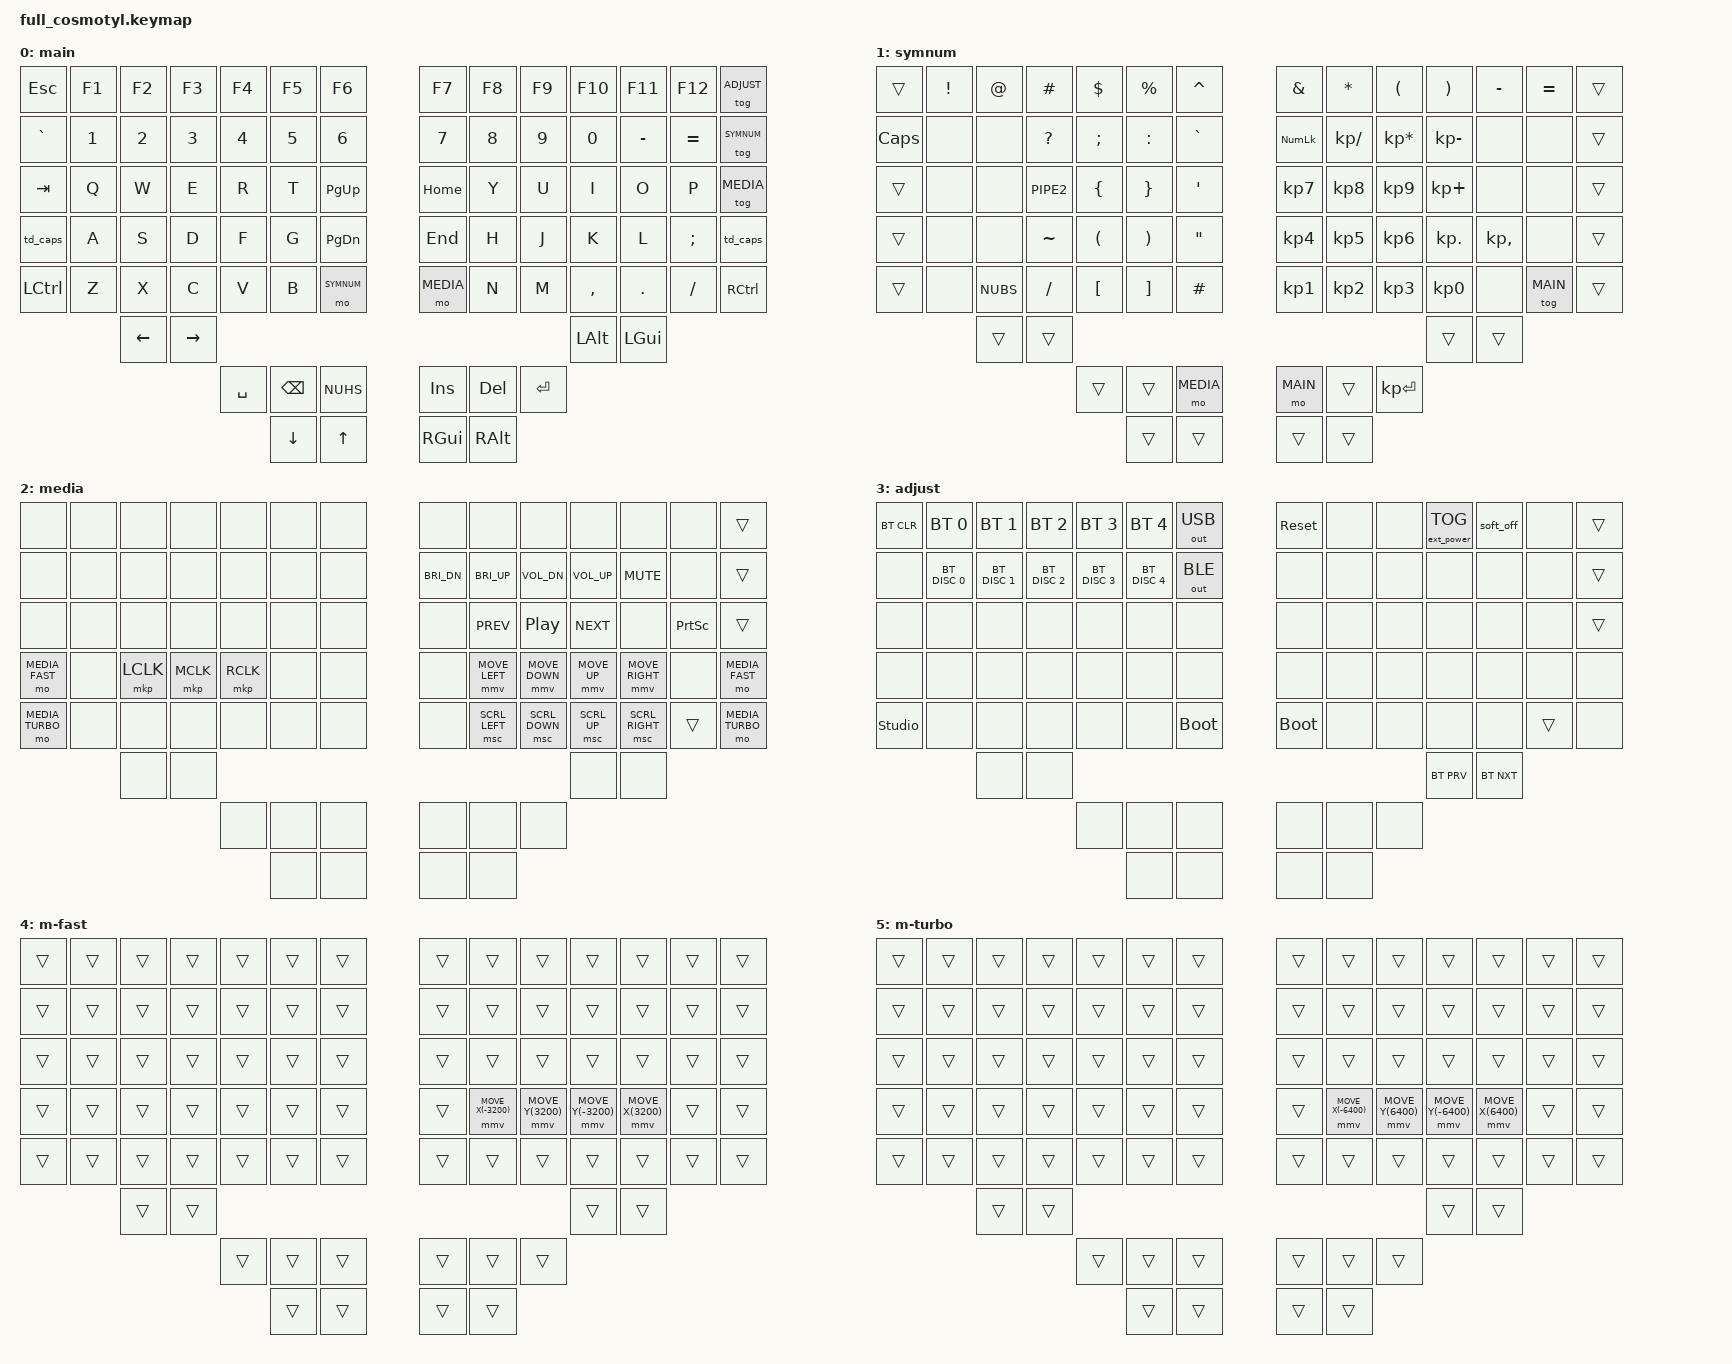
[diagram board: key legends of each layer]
// This file was generated from a template. Edit it to match your keyboard.
// See https://zmk.dev/docs/development/hardware-integration/new-shield for more instructions.

#include <behaviors.dtsi>
#include <dt-bindings/zmk/keys.h>
#include <dt-bindings/zmk/bt.h>
#include <dt-bindings/zmk/outputs.h>
#include <dt-bindings/zmk/ext_power.h>
#include <dt-bindings/zmk/reset.h>
#include <dt-bindings/zmk/pointing.h>
#define MAIN         0
#define SYMNUM       1
#define MEDIA        2
#define ADJUST       3
#define MEDIA_FAST   4
#define MEDIA_TURBO  5
/ {
    behaviors {
        td_caps: tap_dance_caps {
            compatible = "zmk,behavior-tap-dance";
            #binding-cells = <0>;
            tapping-term-ms = <200>;
            bindings = <&kp LSHIFT>, <&kp CAPS>;
        };
    };

    // Define a default keymap here.
    // See https://zmk.dev/docs/development/hardware-integration/new-shield#default-keymap.
    keymap {
        compatible = "zmk,keymap";

        main_layer {
            display-name = "main";
            // -------------------------------------------------------------------------------------------------------------------------------------------------------------
            // |    ESC   |  F1   |    F2    |    F3     |    F4   |    F5    |    F6     |      :     |   F7    |    F8    |   F9    |   F10    |   F11    |   F12    | ADJUST   |
            // |    `     |   1   |     2    |     3     |     4   |     5    |     6     |      :     |   7     |     8    |    9    |    0     |     -    |     =    | SYMNUM   |
            // |    TAB   |   q   |     w    |     e     |     r   |     t    |   PG UP   |      :     |   HOME  |     y    |    u    |    i     |     o    |     p    |  MEDIA   |
            // |   SHIFT  |   a   |     s    |     d     |     f   |     g    |   PG DW   |      :     |   END   |     h    |    j    |    k     |     l    |     ;    |   SHIFT  |
            // |   CTRL   |   z   |     x    |     c     |     v   |     b    |  mo LOWER |      :     | mo RISE |     n    |    m    |    <     |     >    |     ?    |   CTRL   |
            //                    | LEFT ARR | RIGHT ARR |                                                                            | DOWN ARR | UP ARR  |
            //                                           |    SPC  |   BSPC   |    NUHS   |             |  INS    |  DEL     |   ENTER  |
            //                                                     |   LALT   |    LGUI   |             | UP ARR  | DOWN ARR |
            bindings = <
                &kp ESC    &kp F1 &kp F2      &kp F3      &kp F4    &kp F5     &kp F6                   &kp F7     &kp F8   &kp F9     &kp F10   &kp F11    &kp F12    &tog ADJUST
                &kp GRAVE  &kp N1 &kp N2      &kp N3      &kp N4    &kp N5     &kp N6                   &kp N7     &kp N8   &kp N9     &kp N0    &kp MINUS  &kp EQUAL  &tog SYMNUM
                &kp TAB    &kp Q  &kp W       &kp E       &kp R     &kp T      &kp PG_UP                &kp HOME   &kp Y    &kp U      &kp I     &kp O      &kp P      &tog MEDIA
                &td_caps   &kp A  &kp S       &kp D       &kp F     &kp G      &kp PG_DN                &kp END    &kp H    &kp J      &kp K     &kp L      &kp SEMI   &td_caps
                &kp LCTRL  &kp Z  &kp X       &kp C       &kp V     &kp B      &mo SYMNUM               &mo MEDIA  &kp N    &kp M      &kp COMMA &kp DOT    &kp FSLH   &kp RCTRL
                                  &kp LEFT    &kp RIGHT                                                                                &kp DOWN  &kp UP
                                                          &kp SPACE &kp BSPC   &kp NUHS                 &kp INS    &kp DEL  &kp ENTER
                                                                    &kp LALT   &kp LGUI                 &kp RGUI   &kp RALT
            >;
        };
        symnum_layer {
            display-name = "symnum";
            // ------------------------------------------------------------------------------------------
            // | +  ESC   |   !    |    @   |     £    |     $   |      %     |      ^      |            |     &      |      *     |       (       |     )      |     -      |     =    | + ADJUST |
            // | +  CAPS  |        |        |     ?    |     ;   |      :     |      `      |            |  NUM LOCK  |    KP /    |      KP *     |    KP -    |            |          | + SYMNUM |
            // | +  TAB   |        |        |     |    |     {   |      }     |      '      |            |    KP 7    |    KP 8    |      KP 9     |    KP +    |            |          | +  MEDIA |
            // | + LCTRL  |        |        |     ~    |     (   |      )     |      "      |            |    KP 4    |    KP 5    |      KP 6     |    KP .    |   KP ,     |          | + RSHIFT |
            // | + LSHIFT |        |    \   |     /    |     [   |      ]     |      #      |            |    KP 1    |    KP 2    |      KP 3     |    KP 0    |            |   MAIN   | + RCTRL  |
            //                     | + LALT | + LGUI   |                                                                                           |   + RALT   |  + RGUI    |
            //                                         |  + SPC  |  + BSPC    |   mo MEDIA  |            |  mo MAIN   |  + DEL     |   KP ENTER    |
            //                                                   | + LEFT ARR | + RIGHT ARR |            | + UP ARR   | + DOWN ARR |
            bindings = <
                &trans   &kp EXCL &kp AT    &kp HASH   &kp DLLR   &kp PRCNT    &kp CARET                  &kp AMPS        &kp STAR     &kp LPAR        &kp RPAR     &kp MINUS    &kp EQUAL &trans
                &kp CAPS &none    &none     &kp QMARK  &kp SEMI   &kp COLON    &kp GRAVE                  &kp KP_NUM      &kp KP_SLASH &kp KP_ASTERISK &kp KP_MINUS &none        &none     &trans
                &trans   &none    &none     &kp PIPE2  &kp LBRC   &kp RBRC     &kp APOS                   &kp KP_N7       &kp KP_N8    &kp KP_N9       &kp KP_PLUS  &none        &none     &trans
                &trans   &none    &none     &kp TILDE  &kp LPAR   &kp RPAR     &kp DQT                    &kp KP_N4       &kp KP_N5    &kp KP_N6       &kp KP_DOT   &kp KP_COMMA &none     &trans
                &trans   &none    &kp NUBS  &kp FSLH   &kp LBKT   &kp RBKT     &kp HASH                   &kp KP_N1       &kp KP_N2    &kp KP_N3       &kp KP_N0    &none        &tog MAIN &trans
                                  &trans    &trans                                                                                                     &trans       &trans
                                                       &trans     &trans       &mo MEDIA                  &mo MAIN        &trans        &kp KP_ENTER
                                                                  &trans       &trans                     &trans          &trans
            >;
        };
        media_layer {
            display-name = "media";
            // -------------------------------------------------------------------------------------------------------------------------------------------------------------------
            // |          |          |          |          |          |          |          |   :   |          |              |              |            |               |          | + ADJUST |
            // |          |          |          |          |          |          |          |   :   |          |              |              |            |               |          | + SYMNUM |
            // |          |          |          |          |          |          |          |   :   |          |              |              |            |               |          | + MEDIA  |
            // |          |          |   MB 1   |   MB 3   |   MB 2   |          |          |   :   |          |    M LEFT    |    M DOWN    |    M UP    |    M RIGHT    |          |          |
            // |          |          |          |          |          |          |          |   :   |          |    S LEFT    |    S DOWN    |    S UP    |    S RIGHT    |  + MAIN  |          |
            // ----------------------|          |          |================================|   :   |========================================|            |               |----------------------
            //                       ----------------------|          |          |          |   :   |          |              |              |-----------------------------
            //                                             -----------|          |          |   :   |          |              |---------------
            //                                                        -----------------------   :   ---------------------------
            bindings = <
                &none      &none      &none      &none      &none      &none      &none              &none         &none          &none          &none        &none           &none      &trans
                &none      &none      &none      &none      &none      &none      &none              &kp C_BRI_DN  &kp C_BRI_UP   &kp C_VOL_DN   &kp C_VOL_UP &kp C_MUTE      &none      &trans
                &none      &none      &none      &none      &none      &none      &none              &none         &kp C_PREV     &kp C_PP       &kp C_NEXT   &none           &kp PSCRN  &trans
                &mo MEDIA_FAST  &none &mkp LCLK  &mkp MCLK  &mkp RCLK  &none      &none              &none         &mmv MOVE_LEFT &mmv MOVE_DOWN &mmv MOVE_UP &mmv MOVE_RIGHT &none      &mo MEDIA_FAST
                &mo MEDIA_TURBO &none &none      &none      &none      &none      &none              &none         &msc SCRL_LEFT &msc SCRL_DOWN &msc SCRL_UP &msc SCRL_RIGHT &trans     &mo MEDIA_TURBO
                                      &none      &none                                                                                           &none        &none
                                                            &none      &none      &none              &none         &none          &none
                                                                       &none      &none              &none         &none
            >;
        };
        adjust_layer {
            display-name = "adjust";
            // --------------------------------------------------------------------------------------------------------------------------------------------------------------------------------------------
            // |  BT_CLR       | BT_SEL 0     | BT_SEL 1     | BT_SEL 2     | BT_SEL 3     | BT_SEL 4     |   OUT_USB   |   :   | SYS-RESET  |          |          | EXT_POWER | SOFT_OFF |          | + ADJUST |
            // |               | BT_DISC 0    | BT_DISC 1    | BT_DISC 2    | BT_DISC 3    | BT_DISC 4    |   OUT_BLE   |   :   |            |          |          |           |          |          | + SYMNUM |
            // |               |              |              |              |              |              |             |   :   |            |          |          |           |          |          | + MEDIA  |
            // |               |              |              |              |              |              |             |   :   |            |          |          |           |          |          |          |
            // | STUDIO_UNLOCK |              |              |              |              |              | BOOTLOADER  |   :   | BOOTLOADER |          |          |           |          |  + MAIN  |          |
            // -------------------------------|              |              |===========================================|   :   |==================================|           |          |----------------------
            //                                ------------------------------|              |              |             |   :   |            |          |          |-----------------------
            //                                                              ---------------|   BT_PRV     |    BT_NXT   |   :   |            |          |-----------
            //                                                                             ------------------------------   :   -------------------------
            bindings = <
                &bt BT_CLR      &bt BT_SEL 0   &bt BT_SEL 1   &bt BT_SEL 2   &bt BT_SEL 3   &bt BT_SEL 4   &out OUT_USB          &sys_reset   &none      &none      &ext_power EP_TOG  &soft_off   &none     &trans
                &none           &bt BT_DISC 0  &bt BT_DISC 1  &bt BT_DISC 2  &bt BT_DISC 3  &bt BT_DISC 4  &out OUT_BLE          &none        &none      &none      &none              &none       &none     &trans
                &none           &none          &none          &none          &none          &none          &none                 &none        &none      &none      &none              &none       &none     &trans
                &none           &none          &none          &none          &none          &none          &none                 &none        &none      &none      &none              &none       &none     &none
                &studio_unlock  &none          &none          &none          &none          &none          &bootloader           &bootloader  &none      &none      &none              &none       &trans    &none
                                               &none          &none                                                                                                 &none              &none
                                                                             &none          &none          &none                 &none        &none      &none
                                                                                            &bt BT_PRV     &bt BT_NXT            &none        &none
            >;
        };
        media_fast_layer {
            display-name = "m-fast";
            bindings = <
                &trans     &trans     &trans     &trans     &trans     &trans     &trans             &trans        &trans             &trans             &trans             &trans             &trans     &trans
                &trans     &trans     &trans     &trans     &trans     &trans     &trans             &trans        &trans             &trans             &trans             &trans             &trans     &trans
                &trans     &trans     &trans     &trans     &trans     &trans     &trans             &trans        &trans             &trans             &trans             &trans             &trans     &trans
                &trans     &trans     &trans     &trans     &trans     &trans     &trans             &trans        &mmv MOVE_X(-3200) &mmv MOVE_Y(3200)  &mmv MOVE_Y(-3200) &mmv MOVE_X(3200)  &trans     &trans
                &trans     &trans     &trans     &trans     &trans     &trans     &trans             &trans        &trans             &trans             &trans             &trans             &trans     &trans
                                      &trans     &trans                                                                                                  &trans             &trans
                                                            &trans     &trans     &trans             &trans        &trans             &trans
                                                                       &trans     &trans             &trans        &trans
            >;
        };
        media_turbo_layer {
            display-name = "m-turbo";
            bindings = <
                &trans     &trans     &trans     &trans     &trans     &trans     &trans             &trans        &trans             &trans             &trans             &trans             &trans     &trans
                &trans     &trans     &trans     &trans     &trans     &trans     &trans             &trans        &trans             &trans             &trans             &trans             &trans     &trans
                &trans     &trans     &trans     &trans     &trans     &trans     &trans             &trans        &trans             &trans             &trans             &trans             &trans     &trans
                &trans     &trans     &trans     &trans     &trans     &trans     &trans             &trans        &mmv MOVE_X(-6400) &mmv MOVE_Y(6400)  &mmv MOVE_Y(-6400) &mmv MOVE_X(6400)  &trans     &trans
                &trans     &trans     &trans     &trans     &trans     &trans     &trans             &trans        &trans             &trans             &trans             &trans             &trans     &trans
                                      &trans     &trans                                                                                                  &trans             &trans
                                                            &trans     &trans     &trans             &trans        &trans             &trans
                                                                       &trans     &trans             &trans        &trans
            >;
        };
    };
};
